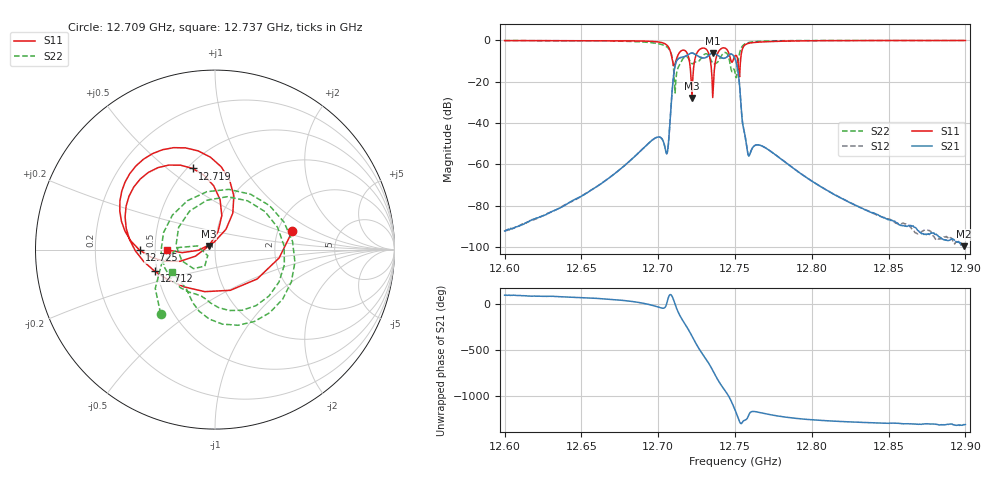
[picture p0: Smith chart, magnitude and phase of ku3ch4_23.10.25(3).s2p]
#  HZ  S  RI  R  50.00
! Rohde & Schwarz ZVA50 2Ports - Version 3.70 - 1145.1110k50 SN: 100192
! Date: 2025-10-23 16:20:44
! Measurements: S11 S21 S12 S22
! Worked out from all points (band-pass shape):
!   601 points, 12.6 GHz to 12.9 GHz, reference 50 ohm
!   highest |S21| = -6.22 dB at 12.736 GHz (marker M1); lowest = -99.5 dB at 12.899 GHz (marker M2)
!   |S21| within 3 dB of the highest: 12.71275 GHz to 12.75013 GHz (37.38 MHz wide, 0.294 % of centre)
!   lowest |S11| = -28.0 dB at 12.722 GHz (marker M3), VSWR 1.08, Z = 46.6 + j1.83 ohm
!   |S11| at or under -10 dB: 12.70928 GHz to 12.71155 GHz (2.269 MHz wide, 0.0179 % of centre); 12.72024 GHz to 12.72371 GHz (3.465 MHz wide, 0.0272 % of centre); 12.734 GHz to 12.73733 GHz (3.328 MHz wide, 0.0261 % of centre)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
!   |S22| runs from -25.6 to -0.2 dB; largest |S21 - S12| = 0.00016
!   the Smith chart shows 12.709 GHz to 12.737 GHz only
!   S11 on the Smith chart (normalised r, x): 12.709 GHz: 2.41, +0.61; 12.712 GHz: 0.48, -0.13; 12.719 GHz: 0.53, +0.62; 12.725 GHz: 0.41, -0.00; 12.737 GHz: 0.58, -0.00
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1.26e10  -0.9384 -0.2634  -4.93e-06 2.4e-05  -4.37e-06 2.36e-05  -0.9534 -0.2057
1.265e10  -0.9678 0.0643  4.52e-05 0.000164  4.01e-05 0.000166  -0.9207 0.2852
1.26875e10  -0.77 0.5596  0.0018 0.000719  0.0018 0.000722  -0.0245 0.9115
1.27e10  -0.3621 0.8286  0.00401 -0.0022  0.00403 -0.0022  0.7976 0.1868
1.27055e10  0.1921 0.7408  0.00178 0.000259  0.00178 0.000271  0.354 -0.5908
1.27085e10  0.4313 0.1026  -0.00713 0.0297  -0.00713 0.0298  -0.3031 -0.3577
1.2712e10  -0.3366 -0.1201  0.2282 -0.2187  0.2283 -0.2187  -0.1201 -0.1059
1.2719e10  -0.1252 0.4523  -0.1001 0.4212  -0.1001 0.4213  0.2293 -0.3117
1.2722e10  -0.0349 0.0196  0.4768 0.1026  0.4768 0.1026  -0.0768 -0.2584
1.27245e10  -0.4204 -0.00268  0.1779 -0.4047  0.178 -0.4047  -0.2825 -0.0971
1.2729e10  -0.4408 0.4659  -0.3669 0.0499  -0.367 0.0499  0.3842 0.1537
1.27355e10  -0.00577 0.0405  0.4875 -0.0311  0.4876 -0.031  -0.1579 -0.2224
1.2737e10  -0.2689 -0.00145  0.2925 -0.3713  0.2926 -0.3713  -0.2381 -0.1246
1.27455e10  0.0481 0.53  0.0346 0.4136  0.0345 0.4136  0.2488 -0.339
1.275e10  -0.0626 0.4087  0.0952 -0.3434  0.0953 -0.3433  -0.0212 -0.1667
1.27535e10  -0.2523 0.1415  -0.034 0.0299  -0.0341 0.0299  0.44 0.371
1.2759e10  0.198 0.8163  -0.00102 -0.00121  -0.00102 -0.00122  0.7782 -0.4066
1.27725e10  0.9182 -0.0674  -0.00129 -0.00172  -0.00129 -0.00172  0.2337 -0.928
1.28e10  0.1209 -0.9578  -0.000392 2.92e-05  -0.000393 3.03e-05  -0.3409 -0.9149
1.285e10  -0.6204 -0.7542  -3.41e-05 3.12e-05  -3.77e-05 3.01e-05  -0.7103 -0.6759
1.2899e10  -0.8378 -0.5027  -5.89e-06 8.73e-06  -7.36e-06 9.42e-06  -0.8558 -0.4795
1.29e10  -0.8405 -0.4982  -6.63e-06 9.99e-06  -6.4e-06 9.35e-06  -0.8579 -0.4758
